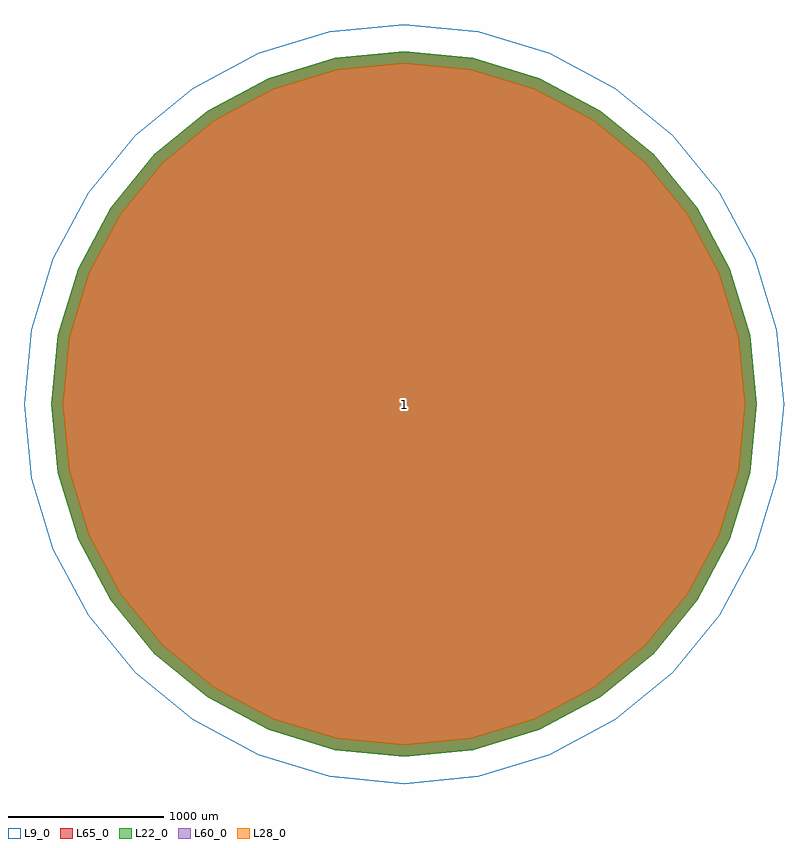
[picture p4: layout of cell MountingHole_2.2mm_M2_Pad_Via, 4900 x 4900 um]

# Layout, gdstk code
import gdstk
lib = gdstk.Library(unit=1e-6, precision=1e-09)
def P(c, l, *ps):  # polygons
    for p in ps: c.add(gdstk.Polygon(p, *l))
L9_0 = (9, 0)
L22_0 = (22, 0)
L28_0 = (28, 0)
L60_0 = (60, 0)
L65_0 = (65, 0)

mountinghole_2_2mm_m2_pa = lib.new_cell('MountingHole_2.2mm_M2_Pad_Via')
P(mountinghole_2_2mm_m2_pa, L9_0, [(2450,0),(2402.924,477.971),(2263.505,937.574),(2037.101,1361.147),(1732.412,1732.412),(1361.147,2037.101),(937.574,2263.505),(477.971,2402.924),(0,2450),(-477.971,2402.924),(-937.574,2263.505),(-1361.147,2037.101),(-1732.412,1732.412),(-2037.101,1361.147),(-2263.505,937.574),(-2402.924,477.971),(-2450,0),(-2402.924,-477.971),(-2263.505,-937.574),(-2037.101,-1361.147),(-1732.412,-1732.412),(-1361.147,-2037.101),(-937.574,-2263.505),(-477.971,-2402.924),(0,-2450),(477.971,-2402.924),(937.574,-2263.505),(1361.147,-2037.101),(1732.412,-1732.412),(2037.101,-1361.147),(2263.505,-937.574),(2402.924,-477.971)],
  [(2200,0),(2157.728,429.199),(2032.535,841.904),(1829.233,1222.255),(1555.635,1555.635),(1222.255,1829.233),(841.904,2032.535),(429.199,2157.728),(0,2200),(-429.199,2157.728),(-841.904,2032.535),(-1222.255,1829.233),(-1555.635,1555.635),(-1829.233,1222.255),(-2032.535,841.904),(-2157.728,429.199),(-2200,0),(-2157.728,-429.199),(-2032.535,-841.904),(-1829.233,-1222.255),(-1555.635,-1555.635),(-1222.255,-1829.233),(-841.904,-2032.535),(-429.199,-2157.728),(0,-2200),(429.199,-2157.728),(841.904,-2032.535),(1222.255,-1829.233),(1555.635,-1555.635),(1829.233,-1222.255),(2032.535,-841.904),(2157.728,-429.199)])
P(mountinghole_2_2mm_m2_pa, L22_0, [(1541.726,1166.726),(1534.52,1239.885),(1513.181,1310.232),(1478.527,1375.065),(1431.891,1431.891),(1375.065,1478.527),(1310.232,1513.181),(1239.885,1534.52),(1166.726,1541.726),(1093.567,1534.52),(1023.22,1513.181),(958.387,1478.527),(901.561,1431.891),(854.925,1375.065),(820.271,1310.232),(798.932,1239.885),(791.726,1166.726),(798.932,1093.567),(820.271,1023.22),(854.925,958.387),(901.561,901.561),(958.387,854.925),(1023.22,820.271),(1093.567,798.932),(1166.726,791.726),(1239.885,798.932),(1310.232,820.271),(1375.065,854.925),(1431.891,901.561),(1478.527,958.387),(1513.181,1023.22),(1534.52,1093.567)],
  [(375,1650),(367.794,1723.159),(346.455,1793.506),(311.801,1858.339),(265.165,1915.165),(208.339,1961.801),(143.506,1996.455),(73.159,2017.794),(0,2025),(-73.159,2017.794),(-143.506,1996.455),(-208.339,1961.801),(-265.165,1915.165),(-311.801,1858.339),(-346.455,1793.506),(-367.794,1723.159),(-375,1650),(-367.794,1576.841),(-346.455,1506.494),(-311.801,1441.661),(-265.165,1384.835),(-208.339,1338.199),(-143.506,1303.545),(-73.159,1282.206),(0,1275),(73.159,1282.206),(143.506,1303.545),(208.339,1338.199),(265.165,1384.835),(311.801,1441.661),(346.455,1506.494),(367.794,1576.841)],
  [(-791.726,1166.726),(-798.932,1239.885),(-820.271,1310.232),(-854.925,1375.065),(-901.561,1431.891),(-958.387,1478.527),(-1023.22,1513.181),(-1093.567,1534.52),(-1166.726,1541.726),(-1239.885,1534.52),(-1310.232,1513.181),(-1375.065,1478.527),(-1431.891,1431.891),(-1478.527,1375.065),(-1513.181,1310.232),(-1534.52,1239.885),(-1541.726,1166.726),(-1534.52,1093.567),(-1513.181,1023.22),(-1478.527,958.387),(-1431.891,901.561),(-1375.065,854.925),(-1310.232,820.271),(-1239.885,798.932),(-1166.726,791.726),(-1093.567,798.932),(-1023.22,820.271),(-958.387,854.925),(-901.561,901.561),(-854.925,958.387),(-820.271,1023.22),(-798.932,1093.567)],
  [(-1275,0),(-1282.206,73.159),(-1303.545,143.506),(-1338.199,208.339),(-1384.835,265.165),(-1441.661,311.801),(-1506.494,346.455),(-1576.841,367.794),(-1650,375),(-1723.159,367.794),(-1793.506,346.455),(-1858.339,311.801),(-1915.165,265.165),(-1961.801,208.339),(-1996.455,143.506),(-2017.794,73.159),(-2025,0),(-2017.794,-73.159),(-1996.455,-143.506),(-1961.801,-208.339),(-1915.165,-265.165),(-1858.339,-311.801),(-1793.506,-346.455),(-1723.159,-367.794),(-1650,-375),(-1576.841,-367.794),(-1506.494,-346.455),(-1441.661,-311.801),(-1384.835,-265.165),(-1338.199,-208.339),(-1303.545,-143.506),(-1282.206,-73.159)],
  [(-791.726,-1166.726),(-798.932,-1093.567),(-820.271,-1023.22),(-854.925,-958.387),(-901.561,-901.561),(-958.387,-854.925),(-1023.22,-820.271),(-1093.567,-798.932),(-1166.726,-791.726),(-1239.885,-798.932),(-1310.232,-820.271),(-1375.065,-854.925),(-1431.891,-901.561),(-1478.527,-958.387),(-1513.181,-1023.22),(-1534.52,-1093.567),(-1541.726,-1166.726),(-1534.52,-1239.885),(-1513.181,-1310.232),(-1478.527,-1375.065),(-1431.891,-1431.891),(-1375.065,-1478.527),(-1310.232,-1513.181),(-1239.885,-1534.52),(-1166.726,-1541.726),(-1093.567,-1534.52),(-1023.22,-1513.181),(-958.387,-1478.527),(-901.561,-1431.891),(-854.925,-1375.065),(-820.271,-1310.232),(-798.932,-1239.885)],
  [(375,-1650),(367.794,-1576.841),(346.455,-1506.494),(311.801,-1441.661),(265.165,-1384.835),(208.339,-1338.199),(143.506,-1303.545),(73.159,-1282.206),(0,-1275),(-73.159,-1282.206),(-143.506,-1303.545),(-208.339,-1338.199),(-265.165,-1384.835),(-311.801,-1441.661),(-346.455,-1506.494),(-367.794,-1576.841),(-375,-1650),(-367.794,-1723.159),(-346.455,-1793.506),(-311.801,-1858.339),(-265.165,-1915.165),(-208.339,-1961.801),(-143.506,-1996.455),(-73.159,-2017.794),(0,-2025),(73.159,-2017.794),(143.506,-1996.455),(208.339,-1961.801),(265.165,-1915.165),(311.801,-1858.339),(346.455,-1793.506),(367.794,-1723.159)],
  [(1541.726,-1166.726),(1534.52,-1093.567),(1513.181,-1023.22),(1478.527,-958.387),(1431.891,-901.561),(1375.065,-854.925),(1310.232,-820.271),(1239.885,-798.932),(1166.726,-791.726),(1093.567,-798.932),(1023.22,-820.271),(958.387,-854.925),(901.561,-901.561),(854.925,-958.387),(820.271,-1023.22),(798.932,-1093.567),(791.726,-1166.726),(798.932,-1239.885),(820.271,-1310.232),(854.925,-1375.065),(901.561,-1431.891),(958.387,-1478.527),(1023.22,-1513.181),(1093.567,-1534.52),(1166.726,-1541.726),(1239.885,-1534.52),(1310.232,-1513.181),(1375.065,-1478.527),(1431.891,-1431.891),(1478.527,-1375.065),(1513.181,-1310.232),(1534.52,-1239.885)],
  [(2025,0),(2017.794,73.159),(1996.455,143.506),(1961.801,208.339),(1915.165,265.165),(1858.339,311.801),(1793.506,346.455),(1723.159,367.794),(1650,375),(1576.841,367.794),(1506.494,346.455),(1441.661,311.801),(1384.835,265.165),(1338.199,208.339),(1303.545,143.506),(1282.206,73.159),(1275,0),(1282.206,-73.159),(1303.545,-143.506),(1338.199,-208.339),(1384.835,-265.165),(1441.661,-311.801),(1506.494,-346.455),(1576.841,-367.794),(1650,-375),(1723.159,-367.794),(1793.506,-346.455),(1858.339,-311.801),(1915.165,-265.165),(1961.801,-208.339),(1996.455,-143.506),(2017.794,-73.159)],
  [(2275,0),(2231.287,443.83),(2101.826,870.605),(1891.593,1263.922),(1608.668,1608.668),(1263.922,1891.593),(870.605,2101.826),(443.83,2231.287),(0,2275),(-443.83,2231.287),(-870.605,2101.826),(-1263.922,1891.593),(-1608.668,1608.668),(-1891.593,1263.922),(-2101.826,870.605),(-2231.287,443.83),(-2275,0),(-2231.287,-443.83),(-2101.826,-870.605),(-1891.593,-1263.922),(-1608.668,-1608.668),(-1263.922,-1891.593),(-870.605,-2101.826),(-443.83,-2231.287),(0,-2275),(443.83,-2231.287),(870.605,-2101.826),(1263.922,-1891.593),(1608.668,-1608.668),(1891.593,-1263.922),(2101.826,-870.605),(2231.287,-443.83)])
P(mountinghole_2_2mm_m2_pa, L28_0, [(1466.726,1166.726),(1460.962,1225.253),(1443.89,1281.531),(1416.167,1333.397),(1378.858,1378.858),(1333.397,1416.167),(1281.531,1443.89),(1225.253,1460.962),(1166.726,1466.726),(1108.199,1460.962),(1051.921,1443.89),(1000.055,1416.167),(954.594,1378.858),(917.285,1333.397),(889.562,1281.531),(872.49,1225.253),(866.726,1166.726),(872.49,1108.199),(889.562,1051.921),(917.285,1000.055),(954.594,954.594),(1000.055,917.285),(1051.921,889.562),(1108.199,872.49),(1166.726,866.726),(1225.253,872.49),(1281.531,889.562),(1333.397,917.285),(1378.858,954.594),(1416.167,1000.055),(1443.89,1051.921),(1460.962,1108.199)],
  [(300,1650),(294.236,1708.527),(277.164,1764.805),(249.441,1816.671),(212.132,1862.132),(166.671,1899.441),(114.805,1927.164),(58.527,1944.236),(0,1950),(-58.527,1944.236),(-114.805,1927.164),(-166.671,1899.441),(-212.132,1862.132),(-249.441,1816.671),(-277.164,1764.805),(-294.236,1708.527),(-300,1650),(-294.236,1591.473),(-277.164,1535.195),(-249.441,1483.329),(-212.132,1437.868),(-166.671,1400.559),(-114.805,1372.836),(-58.527,1355.764),(0,1350),(58.527,1355.764),(114.805,1372.836),(166.671,1400.559),(212.132,1437.868),(249.441,1483.329),(277.164,1535.195),(294.236,1591.473)],
  [(-866.726,1166.726),(-872.49,1225.253),(-889.562,1281.531),(-917.285,1333.397),(-954.594,1378.858),(-1000.055,1416.167),(-1051.921,1443.89),(-1108.199,1460.962),(-1166.726,1466.726),(-1225.253,1460.962),(-1281.531,1443.89),(-1333.397,1416.167),(-1378.858,1378.858),(-1416.167,1333.397),(-1443.89,1281.531),(-1460.962,1225.253),(-1466.726,1166.726),(-1460.962,1108.199),(-1443.89,1051.921),(-1416.167,1000.055),(-1378.858,954.594),(-1333.397,917.285),(-1281.531,889.562),(-1225.253,872.49),(-1166.726,866.726),(-1108.199,872.49),(-1051.921,889.562),(-1000.055,917.285),(-954.594,954.594),(-917.285,1000.055),(-889.562,1051.921),(-872.49,1108.199)],
  [(-1350,0),(-1355.764,58.527),(-1372.836,114.805),(-1400.559,166.671),(-1437.868,212.132),(-1483.329,249.441),(-1535.195,277.164),(-1591.473,294.236),(-1650,300),(-1708.527,294.236),(-1764.805,277.164),(-1816.671,249.441),(-1862.132,212.132),(-1899.441,166.671),(-1927.164,114.805),(-1944.236,58.527),(-1950,0),(-1944.236,-58.527),(-1927.164,-114.805),(-1899.441,-166.671),(-1862.132,-212.132),(-1816.671,-249.441),(-1764.805,-277.164),(-1708.527,-294.236),(-1650,-300),(-1591.473,-294.236),(-1535.195,-277.164),(-1483.329,-249.441),(-1437.868,-212.132),(-1400.559,-166.671),(-1372.836,-114.805),(-1355.764,-58.527)],
  [(-866.726,-1166.726),(-872.49,-1108.199),(-889.562,-1051.921),(-917.285,-1000.055),(-954.594,-954.594),(-1000.055,-917.285),(-1051.921,-889.562),(-1108.199,-872.49),(-1166.726,-866.726),(-1225.253,-872.49),(-1281.531,-889.562),(-1333.397,-917.285),(-1378.858,-954.594),(-1416.167,-1000.055),(-1443.89,-1051.921),(-1460.962,-1108.199),(-1466.726,-1166.726),(-1460.962,-1225.253),(-1443.89,-1281.531),(-1416.167,-1333.397),(-1378.858,-1378.858),(-1333.397,-1416.167),(-1281.531,-1443.89),(-1225.253,-1460.962),(-1166.726,-1466.726),(-1108.199,-1460.962),(-1051.921,-1443.89),(-1000.055,-1416.167),(-954.594,-1378.858),(-917.285,-1333.397),(-889.562,-1281.531),(-872.49,-1225.253)],
  [(300,-1650),(294.236,-1591.473),(277.164,-1535.195),(249.441,-1483.329),(212.132,-1437.868),(166.671,-1400.559),(114.805,-1372.836),(58.527,-1355.764),(0,-1350),(-58.527,-1355.764),(-114.805,-1372.836),(-166.671,-1400.559),(-212.132,-1437.868),(-249.441,-1483.329),(-277.164,-1535.195),(-294.236,-1591.473),(-300,-1650),(-294.236,-1708.527),(-277.164,-1764.805),(-249.441,-1816.671),(-212.132,-1862.132),(-166.671,-1899.441),(-114.805,-1927.164),(-58.527,-1944.236),(0,-1950),(58.527,-1944.236),(114.805,-1927.164),(166.671,-1899.441),(212.132,-1862.132),(249.441,-1816.671),(277.164,-1764.805),(294.236,-1708.527)],
  [(1466.726,-1166.726),(1460.962,-1108.199),(1443.89,-1051.921),(1416.167,-1000.055),(1378.858,-954.594),(1333.397,-917.285),(1281.531,-889.562),(1225.253,-872.49),(1166.726,-866.726),(1108.199,-872.49),(1051.921,-889.562),(1000.055,-917.285),(954.594,-954.594),(917.285,-1000.055),(889.562,-1051.921),(872.49,-1108.199),(866.726,-1166.726),(872.49,-1225.253),(889.562,-1281.531),(917.285,-1333.397),(954.594,-1378.858),(1000.055,-1416.167),(1051.921,-1443.89),(1108.199,-1460.962),(1166.726,-1466.726),(1225.253,-1460.962),(1281.531,-1443.89),(1333.397,-1416.167),(1378.858,-1378.858),(1416.167,-1333.397),(1443.89,-1281.531),(1460.962,-1225.253)],
  [(1950,0),(1944.236,58.527),(1927.164,114.805),(1899.441,166.671),(1862.132,212.132),(1816.671,249.441),(1764.805,277.164),(1708.527,294.236),(1650,300),(1591.473,294.236),(1535.195,277.164),(1483.329,249.441),(1437.868,212.132),(1400.559,166.671),(1372.836,114.805),(1355.764,58.527),(1350,0),(1355.764,-58.527),(1372.836,-114.805),(1400.559,-166.671),(1437.868,-212.132),(1483.329,-249.441),(1535.195,-277.164),(1591.473,-294.236),(1650,-300),(1708.527,-294.236),(1764.805,-277.164),(1816.671,-249.441),(1862.132,-212.132),(1899.441,-166.671),(1927.164,-114.805),(1944.236,-58.527)],
  [(2200,0),(2157.728,429.199),(2032.535,841.904),(1829.233,1222.255),(1555.635,1555.635),(1222.255,1829.233),(841.904,2032.535),(429.199,2157.728),(0,2200),(-429.199,2157.728),(-841.904,2032.535),(-1222.255,1829.233),(-1555.635,1555.635),(-1829.233,1222.255),(-2032.535,841.904),(-2157.728,429.199),(-2200,0),(-2157.728,-429.199),(-2032.535,-841.904),(-1829.233,-1222.255),(-1555.635,-1555.635),(-1222.255,-1829.233),(-841.904,-2032.535),(-429.199,-2157.728),(0,-2200),(429.199,-2157.728),(841.904,-2032.535),(1222.255,-1829.233),(1555.635,-1555.635),(1829.233,-1222.255),(2032.535,-841.904),(2157.728,-429.199)])
P(mountinghole_2_2mm_m2_pa, L60_0, [(1466.726,1166.726),(1460.962,1225.253),(1443.89,1281.531),(1416.167,1333.397),(1378.858,1378.858),(1333.397,1416.167),(1281.531,1443.89),(1225.253,1460.962),(1166.726,1466.726),(1108.199,1460.962),(1051.921,1443.89),(1000.055,1416.167),(954.594,1378.858),(917.285,1333.397),(889.562,1281.531),(872.49,1225.253),(866.726,1166.726),(872.49,1108.199),(889.562,1051.921),(917.285,1000.055),(954.594,954.594),(1000.055,917.285),(1051.921,889.562),(1108.199,872.49),(1166.726,866.726),(1225.253,872.49),(1281.531,889.562),(1333.397,917.285),(1378.858,954.594),(1416.167,1000.055),(1443.89,1051.921),(1460.962,1108.199)],
  [(300,1650),(294.236,1708.527),(277.164,1764.805),(249.441,1816.671),(212.132,1862.132),(166.671,1899.441),(114.805,1927.164),(58.527,1944.236),(0,1950),(-58.527,1944.236),(-114.805,1927.164),(-166.671,1899.441),(-212.132,1862.132),(-249.441,1816.671),(-277.164,1764.805),(-294.236,1708.527),(-300,1650),(-294.236,1591.473),(-277.164,1535.195),(-249.441,1483.329),(-212.132,1437.868),(-166.671,1400.559),(-114.805,1372.836),(-58.527,1355.764),(0,1350),(58.527,1355.764),(114.805,1372.836),(166.671,1400.559),(212.132,1437.868),(249.441,1483.329),(277.164,1535.195),(294.236,1591.473)],
  [(-866.726,1166.726),(-872.49,1225.253),(-889.562,1281.531),(-917.285,1333.397),(-954.594,1378.858),(-1000.055,1416.167),(-1051.921,1443.89),(-1108.199,1460.962),(-1166.726,1466.726),(-1225.253,1460.962),(-1281.531,1443.89),(-1333.397,1416.167),(-1378.858,1378.858),(-1416.167,1333.397),(-1443.89,1281.531),(-1460.962,1225.253),(-1466.726,1166.726),(-1460.962,1108.199),(-1443.89,1051.921),(-1416.167,1000.055),(-1378.858,954.594),(-1333.397,917.285),(-1281.531,889.562),(-1225.253,872.49),(-1166.726,866.726),(-1108.199,872.49),(-1051.921,889.562),(-1000.055,917.285),(-954.594,954.594),(-917.285,1000.055),(-889.562,1051.921),(-872.49,1108.199)],
  [(-1350,0),(-1355.764,58.527),(-1372.836,114.805),(-1400.559,166.671),(-1437.868,212.132),(-1483.329,249.441),(-1535.195,277.164),(-1591.473,294.236),(-1650,300),(-1708.527,294.236),(-1764.805,277.164),(-1816.671,249.441),(-1862.132,212.132),(-1899.441,166.671),(-1927.164,114.805),(-1944.236,58.527),(-1950,0),(-1944.236,-58.527),(-1927.164,-114.805),(-1899.441,-166.671),(-1862.132,-212.132),(-1816.671,-249.441),(-1764.805,-277.164),(-1708.527,-294.236),(-1650,-300),(-1591.473,-294.236),(-1535.195,-277.164),(-1483.329,-249.441),(-1437.868,-212.132),(-1400.559,-166.671),(-1372.836,-114.805),(-1355.764,-58.527)],
  [(-866.726,-1166.726),(-872.49,-1108.199),(-889.562,-1051.921),(-917.285,-1000.055),(-954.594,-954.594),(-1000.055,-917.285),(-1051.921,-889.562),(-1108.199,-872.49),(-1166.726,-866.726),(-1225.253,-872.49),(-1281.531,-889.562),(-1333.397,-917.285),(-1378.858,-954.594),(-1416.167,-1000.055),(-1443.89,-1051.921),(-1460.962,-1108.199),(-1466.726,-1166.726),(-1460.962,-1225.253),(-1443.89,-1281.531),(-1416.167,-1333.397),(-1378.858,-1378.858),(-1333.397,-1416.167),(-1281.531,-1443.89),(-1225.253,-1460.962),(-1166.726,-1466.726),(-1108.199,-1460.962),(-1051.921,-1443.89),(-1000.055,-1416.167),(-954.594,-1378.858),(-917.285,-1333.397),(-889.562,-1281.531),(-872.49,-1225.253)],
  [(300,-1650),(294.236,-1591.473),(277.164,-1535.195),(249.441,-1483.329),(212.132,-1437.868),(166.671,-1400.559),(114.805,-1372.836),(58.527,-1355.764),(0,-1350),(-58.527,-1355.764),(-114.805,-1372.836),(-166.671,-1400.559),(-212.132,-1437.868),(-249.441,-1483.329),(-277.164,-1535.195),(-294.236,-1591.473),(-300,-1650),(-294.236,-1708.527),(-277.164,-1764.805),(-249.441,-1816.671),(-212.132,-1862.132),(-166.671,-1899.441),(-114.805,-1927.164),(-58.527,-1944.236),(0,-1950),(58.527,-1944.236),(114.805,-1927.164),(166.671,-1899.441),(212.132,-1862.132),(249.441,-1816.671),(277.164,-1764.805),(294.236,-1708.527)],
  [(1466.726,-1166.726),(1460.962,-1108.199),(1443.89,-1051.921),(1416.167,-1000.055),(1378.858,-954.594),(1333.397,-917.285),(1281.531,-889.562),(1225.253,-872.49),(1166.726,-866.726),(1108.199,-872.49),(1051.921,-889.562),(1000.055,-917.285),(954.594,-954.594),(917.285,-1000.055),(889.562,-1051.921),(872.49,-1108.199),(866.726,-1166.726),(872.49,-1225.253),(889.562,-1281.531),(917.285,-1333.397),(954.594,-1378.858),(1000.055,-1416.167),(1051.921,-1443.89),(1108.199,-1460.962),(1166.726,-1466.726),(1225.253,-1460.962),(1281.531,-1443.89),(1333.397,-1416.167),(1378.858,-1378.858),(1416.167,-1333.397),(1443.89,-1281.531),(1460.962,-1225.253)],
  [(1950,0),(1944.236,58.527),(1927.164,114.805),(1899.441,166.671),(1862.132,212.132),(1816.671,249.441),(1764.805,277.164),(1708.527,294.236),(1650,300),(1591.473,294.236),(1535.195,277.164),(1483.329,249.441),(1437.868,212.132),(1400.559,166.671),(1372.836,114.805),(1355.764,58.527),(1350,0),(1355.764,-58.527),(1372.836,-114.805),(1400.559,-166.671),(1437.868,-212.132),(1483.329,-249.441),(1535.195,-277.164),(1591.473,-294.236),(1650,-300),(1708.527,-294.236),(1764.805,-277.164),(1816.671,-249.441),(1862.132,-212.132),(1899.441,-166.671),(1927.164,-114.805),(1944.236,-58.527)],
  [(2200,0),(2157.728,429.199),(2032.535,841.904),(1829.233,1222.255),(1555.635,1555.635),(1222.255,1829.233),(841.904,2032.535),(429.199,2157.728),(0,2200),(-429.199,2157.728),(-841.904,2032.535),(-1222.255,1829.233),(-1555.635,1555.635),(-1829.233,1222.255),(-2032.535,841.904),(-2157.728,429.199),(-2200,0),(-2157.728,-429.199),(-2032.535,-841.904),(-1829.233,-1222.255),(-1555.635,-1555.635),(-1222.255,-1829.233),(-841.904,-2032.535),(-429.199,-2157.728),(0,-2200),(429.199,-2157.728),(841.904,-2032.535),(1222.255,-1829.233),(1555.635,-1555.635),(1829.233,-1222.255),(2032.535,-841.904),(2157.728,-429.199)])
P(mountinghole_2_2mm_m2_pa, L65_0, [(1541.726,1166.726),(1534.52,1239.885),(1513.181,1310.232),(1478.527,1375.065),(1431.891,1431.891),(1375.065,1478.527),(1310.232,1513.181),(1239.885,1534.52),(1166.726,1541.726),(1093.567,1534.52),(1023.22,1513.181),(958.387,1478.527),(901.561,1431.891),(854.925,1375.065),(820.271,1310.232),(798.932,1239.885),(791.726,1166.726),(798.932,1093.567),(820.271,1023.22),(854.925,958.387),(901.561,901.561),(958.387,854.925),(1023.22,820.271),(1093.567,798.932),(1166.726,791.726),(1239.885,798.932),(1310.232,820.271),(1375.065,854.925),(1431.891,901.561),(1478.527,958.387),(1513.181,1023.22),(1534.52,1093.567)],
  [(375,1650),(367.794,1723.159),(346.455,1793.506),(311.801,1858.339),(265.165,1915.165),(208.339,1961.801),(143.506,1996.455),(73.159,2017.794),(0,2025),(-73.159,2017.794),(-143.506,1996.455),(-208.339,1961.801),(-265.165,1915.165),(-311.801,1858.339),(-346.455,1793.506),(-367.794,1723.159),(-375,1650),(-367.794,1576.841),(-346.455,1506.494),(-311.801,1441.661),(-265.165,1384.835),(-208.339,1338.199),(-143.506,1303.545),(-73.159,1282.206),(0,1275),(73.159,1282.206),(143.506,1303.545),(208.339,1338.199),(265.165,1384.835),(311.801,1441.661),(346.455,1506.494),(367.794,1576.841)],
  [(-791.726,1166.726),(-798.932,1239.885),(-820.271,1310.232),(-854.925,1375.065),(-901.561,1431.891),(-958.387,1478.527),(-1023.22,1513.181),(-1093.567,1534.52),(-1166.726,1541.726),(-1239.885,1534.52),(-1310.232,1513.181),(-1375.065,1478.527),(-1431.891,1431.891),(-1478.527,1375.065),(-1513.181,1310.232),(-1534.52,1239.885),(-1541.726,1166.726),(-1534.52,1093.567),(-1513.181,1023.22),(-1478.527,958.387),(-1431.891,901.561),(-1375.065,854.925),(-1310.232,820.271),(-1239.885,798.932),(-1166.726,791.726),(-1093.567,798.932),(-1023.22,820.271),(-958.387,854.925),(-901.561,901.561),(-854.925,958.387),(-820.271,1023.22),(-798.932,1093.567)],
  [(-1275,0),(-1282.206,73.159),(-1303.545,143.506),(-1338.199,208.339),(-1384.835,265.165),(-1441.661,311.801),(-1506.494,346.455),(-1576.841,367.794),(-1650,375),(-1723.159,367.794),(-1793.506,346.455),(-1858.339,311.801),(-1915.165,265.165),(-1961.801,208.339),(-1996.455,143.506),(-2017.794,73.159),(-2025,0),(-2017.794,-73.159),(-1996.455,-143.506),(-1961.801,-208.339),(-1915.165,-265.165),(-1858.339,-311.801),(-1793.506,-346.455),(-1723.159,-367.794),(-1650,-375),(-1576.841,-367.794),(-1506.494,-346.455),(-1441.661,-311.801),(-1384.835,-265.165),(-1338.199,-208.339),(-1303.545,-143.506),(-1282.206,-73.159)],
  [(-791.726,-1166.726),(-798.932,-1093.567),(-820.271,-1023.22),(-854.925,-958.387),(-901.561,-901.561),(-958.387,-854.925),(-1023.22,-820.271),(-1093.567,-798.932),(-1166.726,-791.726),(-1239.885,-798.932),(-1310.232,-820.271),(-1375.065,-854.925),(-1431.891,-901.561),(-1478.527,-958.387),(-1513.181,-1023.22),(-1534.52,-1093.567),(-1541.726,-1166.726),(-1534.52,-1239.885),(-1513.181,-1310.232),(-1478.527,-1375.065),(-1431.891,-1431.891),(-1375.065,-1478.527),(-1310.232,-1513.181),(-1239.885,-1534.52),(-1166.726,-1541.726),(-1093.567,-1534.52),(-1023.22,-1513.181),(-958.387,-1478.527),(-901.561,-1431.891),(-854.925,-1375.065),(-820.271,-1310.232),(-798.932,-1239.885)],
  [(375,-1650),(367.794,-1576.841),(346.455,-1506.494),(311.801,-1441.661),(265.165,-1384.835),(208.339,-1338.199),(143.506,-1303.545),(73.159,-1282.206),(0,-1275),(-73.159,-1282.206),(-143.506,-1303.545),(-208.339,-1338.199),(-265.165,-1384.835),(-311.801,-1441.661),(-346.455,-1506.494),(-367.794,-1576.841),(-375,-1650),(-367.794,-1723.159),(-346.455,-1793.506),(-311.801,-1858.339),(-265.165,-1915.165),(-208.339,-1961.801),(-143.506,-1996.455),(-73.159,-2017.794),(0,-2025),(73.159,-2017.794),(143.506,-1996.455),(208.339,-1961.801),(265.165,-1915.165),(311.801,-1858.339),(346.455,-1793.506),(367.794,-1723.159)],
  [(1541.726,-1166.726),(1534.52,-1093.567),(1513.181,-1023.22),(1478.527,-958.387),(1431.891,-901.561),(1375.065,-854.925),(1310.232,-820.271),(1239.885,-798.932),(1166.726,-791.726),(1093.567,-798.932),(1023.22,-820.271),(958.387,-854.925),(901.561,-901.561),(854.925,-958.387),(820.271,-1023.22),(798.932,-1093.567),(791.726,-1166.726),(798.932,-1239.885),(820.271,-1310.232),(854.925,-1375.065),(901.561,-1431.891),(958.387,-1478.527),(1023.22,-1513.181),(1093.567,-1534.52),(1166.726,-1541.726),(1239.885,-1534.52),(1310.232,-1513.181),(1375.065,-1478.527),(1431.891,-1431.891),(1478.527,-1375.065),(1513.181,-1310.232),(1534.52,-1239.885)],
  [(2025,0),(2017.794,73.159),(1996.455,143.506),(1961.801,208.339),(1915.165,265.165),(1858.339,311.801),(1793.506,346.455),(1723.159,367.794),(1650,375),(1576.841,367.794),(1506.494,346.455),(1441.661,311.801),(1384.835,265.165),(1338.199,208.339),(1303.545,143.506),(1282.206,73.159),(1275,0),(1282.206,-73.159),(1303.545,-143.506),(1338.199,-208.339),(1384.835,-265.165),(1441.661,-311.801),(1506.494,-346.455),(1576.841,-367.794),(1650,-375),(1723.159,-367.794),(1793.506,-346.455),(1858.339,-311.801),(1915.165,-265.165),(1961.801,-208.339),(1996.455,-143.506),(2017.794,-73.159)],
  [(2275,0),(2231.287,443.83),(2101.826,870.605),(1891.593,1263.922),(1608.668,1608.668),(1263.922,1891.593),(870.605,2101.826),(443.83,2231.287),(0,2275),(-443.83,2231.287),(-870.605,2101.826),(-1263.922,1891.593),(-1608.668,1608.668),(-1891.593,1263.922),(-2101.826,870.605),(-2231.287,443.83),(-2275,0),(-2231.287,-443.83),(-2101.826,-870.605),(-1891.593,-1263.922),(-1608.668,-1608.668),(-1263.922,-1891.593),(-870.605,-2101.826),(-443.83,-2231.287),(0,-2275),(443.83,-2231.287),(870.605,-2101.826),(1263.922,-1891.593),(1608.668,-1608.668),(1891.593,-1263.922),(2101.826,-870.605),(2231.287,-443.83)])
mountinghole_2_2mm_m2_pa.add(gdstk.Label('1', (0,0), layer=28, texttype=0))
mountinghole_2_2mm_m2_pa.add(gdstk.Label('type', (0,-3200), layer=9, texttype=0))
mountinghole_2_2mm_m2_pa.add(gdstk.Label('devicename', (0,3200), layer=9, texttype=0))

lib.write_gds('MountingHole_2.2mm_M2_Pad_Via.gds')
